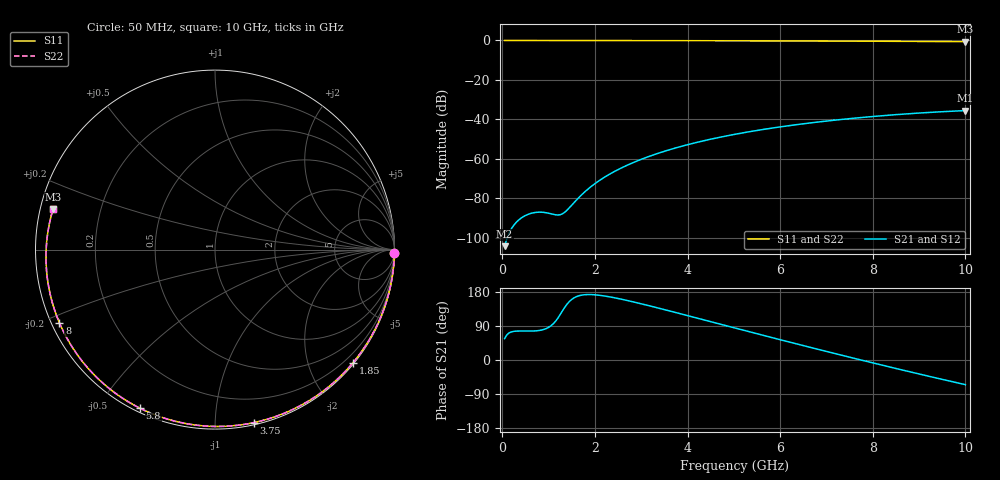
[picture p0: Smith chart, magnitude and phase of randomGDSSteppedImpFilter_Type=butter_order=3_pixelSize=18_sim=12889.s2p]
! freq	dB(S11)	phase(S11)	dB(S12)	phase(S12)
!  dB(S21)	phase(S21)	dB(S22)	phase(S22)
!S-par simulation data
#  GHz  S  DB  R 50
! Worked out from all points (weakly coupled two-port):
!   200 points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, 50 MHz to 10 GHz, reference 50 ohm
!   highest |S21| = -35.58 dB at 10 GHz (marker M1); lowest = -104.4 dB at 50 MHz (marker M2)
!   lowest |S11| = -0.6 dB at 10 GHz (marker M3), VSWR 27.62, Z = 1.84 + j6.15 ohm
!   |S11| at or under -10 dB: nowhere
!   |S22| runs from -0.6 to 0.0 dB; largest |S21 - S12| = 0
!   S11 on the Smith chart (normalised r, x): 50 MHz: open; 1.85 GHz: 0.03, -2.79; 3.75 GHz: 0.02, -1.25; 5.8 GHz: 0.02, -0.63; 8 GHz: 0.02, -0.22; 10 GHz: 0.04, +0.12
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0.05  -0.00 -1.1  -104.36 56.5  -104.36 56.5  -0.00 -1.1
0.4  -0.01 -8.7  -90.23 76.5  -90.23 76.5  -0.01 -8.7
0.8  -0.02 -17.3  -87.11 77.9  -87.11 77.9  -0.02 -17.3
1.6  -0.04 -34.2  -80.99 167.1  -80.99 167.1  -0.04 -34.2
1.65  -0.04 -35.3  -79.77 169.3  -79.77 169.3  -0.04 -35.3
1.75  -0.05 -37.4  -77.48 171.9  -77.48 171.9  -0.05 -37.4
1.85  -0.05 -39.4  -75.41 172.7  -75.41 172.7  -0.05 -39.4
2.15  -0.06 -45.6  -70.22 170.0  -70.22 170.0  -0.06 -45.6
2.5  -0.07 -52.8  -65.52 162.3  -65.52 162.3  -0.07 -52.8
2.9  -0.08 -60.8  -61.24 151.3  -61.24 151.3  -0.08 -60.8
3.4  -0.09 -70.7  -56.97 136.1  -56.97 136.1  -0.09 -70.7
3.75  -0.10 -77.4  -54.48 125.1  -54.48 125.1  -0.10 -77.4
4.4  -0.13 -89.7  -50.62 104.4  -50.62 104.4  -0.13 -89.7
5.05  -0.16 -101.8  -47.49 83.6  -47.49 83.6  -0.16 -101.7
5.8  -0.20 -115.3  -44.54 59.8  -44.54 59.8  -0.20 -115.3
6.7  -0.26 -131.4  -41.70 31.8  -41.70 31.8  -0.26 -131.4
7.35  -0.31 -143.0  -40.01 11.9  -40.01 11.9  -0.31 -143.0
8  -0.37 -154.8  -38.58 -7.6  -38.58 -7.6  -0.37 -154.8
8.35  -0.41 -161.3  -37.91 -18.0  -37.91 -18.0  -0.41 -161.2
9.2  -0.52 -177.6  -36.54 -42.7  -36.54 -42.7  -0.51 -177.5
9.6  -0.57 174.3  -36.02 -54.0  -36.02 -54.0  -0.57 174.4
10  -0.63 166.0  -35.58 -65.0  -35.58 -65.0  -0.63 166.0
